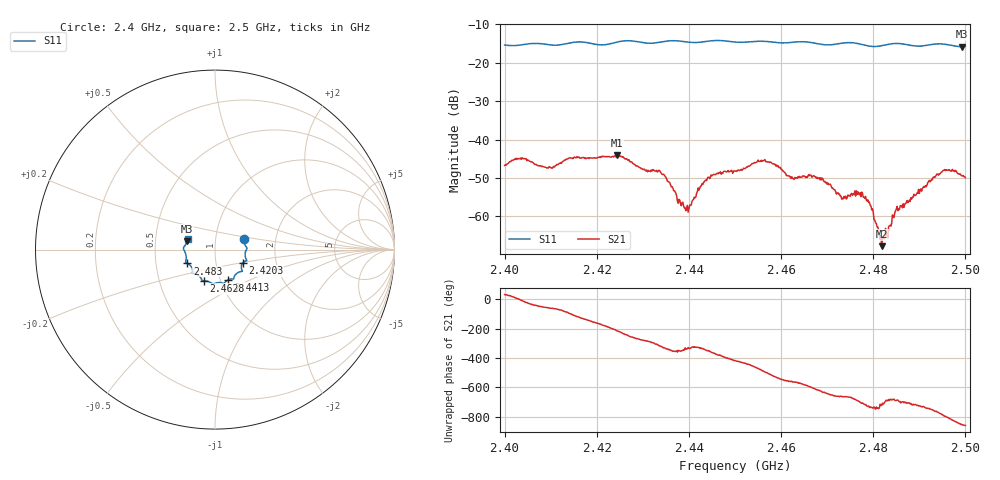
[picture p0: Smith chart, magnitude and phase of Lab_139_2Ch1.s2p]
# Hz S RI R 50
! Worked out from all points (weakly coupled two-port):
!   601 points, 2.4 GHz to 2.5 GHz, reference 50 ohm
!   highest |S21| = -44.13 dB at 2.4243 GHz (marker M1); lowest = -67.8 dB at 2.4818 GHz (marker M2)
!   lowest |S11| = -15.8 dB at 2.4992 GHz (marker M3), VSWR 1.39, Z = 36.4 + j3.54 ohm
!   |S11| at or under -10 dB: start of sweep to end of sweep
!   S12 and S22 are empty: the file has one direction only
!   S11 on the Smith chart (normalised r, x): 2.4 GHz: 1.37, +0.16; 2.4203 GHz: 1.35, -0.21; 2.4413 GHz: 1.09, -0.38; 2.4628 GHz: 0.83, -0.30; 2.483 GHz: 0.72, -0.11; 2.5 GHz: 0.73, +0.09
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2.4e9  0.1606 0.0569  0.00385 0.0025  0 0  0 0
2.409833e9  0.1707 -0.00873  0.00214 -0.00381  0 0  0 0
2.416667e9  0.1762 -0.0616  -0.00355 -0.00458  0 0  0 0
2.420333e9  0.1552 -0.0739  -0.00565 -0.00161  0 0  0 0
2.424333e9  0.149 -0.1108  -0.00518 0.00344  0 0  0 0
2.433333e9  0.108 -0.1485  0.00257 0.00289  0 0  0 0
2.439333e9  0.0915 -0.1634  0.00112 0.00039  0 0  0 0
2.441333e9  0.0742 -0.1679  0.00146 0.00095  0 0  0 0
2.4445e9  0.0541 -0.1846  0.00307 0.000443  0 0  0 0
2.45e9  0.0294 -0.1838  0.00215 -0.00322  0 0  0 0
2.456167e9  -0.0126 -0.1902  -0.00339 -0.00405  0 0  0 0
2.462833e9  -0.063 -0.1747  -0.00279 0.00116  0 0  0 0
2.466667e9  -0.0742 -0.1675  -0.00154 0.00284  0 0  0 0
2.473333e9  -0.1203 -0.1343  0.000947 0.00144  0 0  0 0
2.478e9  -0.1243 -0.1163  0.00176 0.000236  0 0  0 0
2.481833e9  -0.1454 -0.082  0.000408 -2.14e-05  0 0  0 0
2.483e9  -0.1548 -0.0769  0.00052 0.0003  0 0  0 0
2.483333e9  -0.157 -0.0759  0.00058 0.000448  0 0  0 0
2.485333e9  -0.1638 -0.0707  0.000977 0.000673  0 0  0 0
2.4935e9  -0.1753 0.00379  0.00243 -0.00226  0 0  0 0
2.499167e9  -0.1548 0.0472  -0.00222 -0.00253  0 0  0 0
2.5e9  -0.1525 0.0585  -0.00239 -0.0021  0 0  0 0
